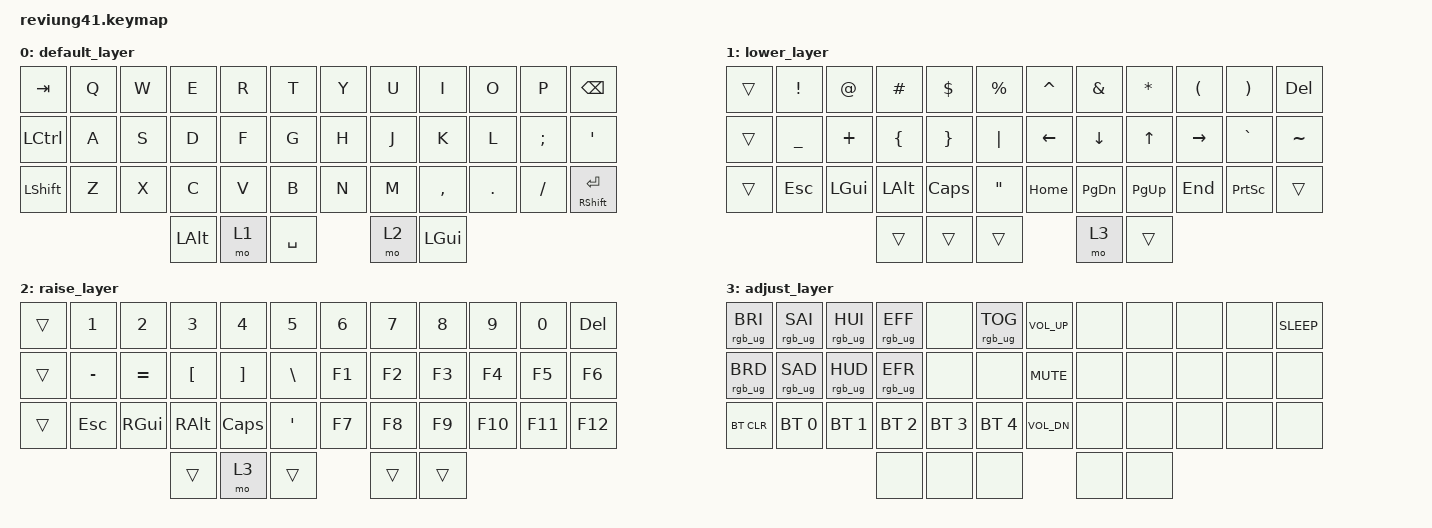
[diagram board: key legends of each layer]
/*
 * Copyright (c) 2020 The ZMK Contributors
 *
 * SPDX-License-Identifier: MIT
 */

#include <behaviors.dtsi>
#include <dt-bindings/zmk/keys.h>
#include <dt-bindings/zmk/bt.h>
#include <dt-bindings/zmk/rgb.h>

/ {
        keymap {
                compatible = "zmk,keymap";

                default_layer {
// -------------------------------------------------------------------------------------
// |  TAB |  Q  |  W  |  E  |  R  |  T  |   |  Y  |  U   |  I  |  O  |  P  |   BKSP    |
// | CTRL |  A  |  S  |  D  |  F  |  G  |   |  H  |  J   |  K  |  L  |  ;  |    '      |
// | SHFT |  Z  |  X  |  C  |  V  |  B  |   |  N  |  M   |  ,  |  .  |  /  | SHFT(RET) |
//                         | ALT | LWR | SPC | RSE  | GUI |
                        bindings = <
   &kp TAB   &kp Q &kp W &kp E &kp R &kp T   &kp Y &kp U  &kp I     &kp O   &kp P    &kp BSPC
   &kp LCTRL &kp A &kp S &kp D &kp F &kp G   &kp H &kp J  &kp K     &kp L   &kp SEMI &kp SQT
   &kp LSHFT &kp Z &kp X &kp C &kp V &kp B   &kp N &kp M  &kp COMMA &kp DOT &kp FSLH &mt RSHFT RET
                        &kp LALT  &mo 1 &kp SPACE &mo 2  &kp LGUI
                        >;
                };

                lower_layer {
// ------------------------------------------------------------------------------------
// |    |  !  |  @  |  #  |  $  |  %  |   |  ^  |  &  |  *  |  (  |  )  |      DEL    |
// |    |  _  |  +  |  {  |  }  | "|" |   | LFT | DWN |  UP | RGT |  `  |       ~     |
// |    | ESC | GUI | ALT | CAPS|  "  |   | HOME| PGDN| PGUP| END | PRSC| SHFT(SPACE) |
//                       |     |     |     | ADJ |     |
                        bindings = <
   &trans &kp EXCL  &kp AT   &kp HASH &kp DLLR &kp PRCNT      &kp CARET &kp AMPS  &kp ASTRK &kp LPAR  &kp RPAR  &kp DEL
   &trans &kp UNDER &kp PLUS &kp LBRC &kp RBRC &kp PIPE       &kp LEFT  &kp DOWN  &kp UP    &kp RIGHT &kp GRAVE &kp TILDE
   &trans &kp ESC   &kp LGUI &kp LALT &kp CLCK &kp DQT        &kp HOME  &kp PG_DN &kp PG_UP &kp END   &kp PSCRN &trans
                                 &trans      &trans       &trans        &mo 3       &trans
                        >;
                };

                raise_layer {
// ----------------------------------------------------------------------------
// |    |  1  |  2  |  3  |  4  |  5  |   |  6  |  7  |  8  |  9  |  0  | DEL |
// |    |  -  |  =  |  [  |  ]  |  \  |   | F1  | F2  | F3  | F4  | F5  | F6  |
// |    | ESC | GUI | ALT | CAPS|  '  |   | F7  | F8  | F9  | F10 | F11 | F12 |
//                       |     | ADJ |     |     |     |
                        bindings = <
   &trans &kp N1    &kp N2    &kp N3    &kp N4    &kp N5        &kp N6    &kp N7    &kp N8    &kp N9    &kp N0    &kp DEL
   &trans &kp MINUS &kp EQUAL &kp LBKT  &kp RBKT  &kp BSLH      &kp F1    &kp F2    &kp F3    &kp F4    &kp F5    &kp F6
   &trans &kp ESC   &kp RGUI  &kp RALT  &kp CLCK  &kp SQT       &kp F7    &kp F8    &kp F9    &kp F10   &kp F11   &kp F12
                                &trans      &mo 3       &trans        &trans      &trans
                        >;
                };

                adjust_layer {
// -----------------------------------------------------------------------------------------
// | RGB BRI+ | RGB SAT+ | RGB HUE+ | RGB ANI+ |      | RGB TOG |   | VOL + |     |     |     |     | SLEEP |
// | RGB BRI- | RGB SAT- | RGB HUE- | RGB ANI- |      |         |   | MUTE  |     |     |     |     |       |
// | BT CLR   | BT 1     | BT 2     | BT 3     | BT 4 | BT 5    |   | VOL - |     |     |     |     |       |
//                                                 |     |     |     |     |     |
                        bindings = <
   &rgb_ug RGB_BRI &rgb_ug RGB_SAI &rgb_ug RGB_HUI &rgb_ug RGB_EFF &none        &rgb_ug RGB_TOG       &kp K_VOL_UP &none &none &none &none &kp K_SLEEP
   &rgb_ug RGB_BRD &rgb_ug RGB_SAD &rgb_ug RGB_HUD &rgb_ug RGB_EFR &none        &none                 &kp K_MUTE   &none &none &none &none &none
   &bt BT_CLR      &bt BT_SEL 0    &bt BT_SEL 1    &bt BT_SEL 2    &bt BT_SEL 3 &bt BT_SEL 4          &kp K_VOL_DN &none &none &none &none &none
                                                                        &none      &none        &none        &none      &none
                        >;
                };
        };
};
